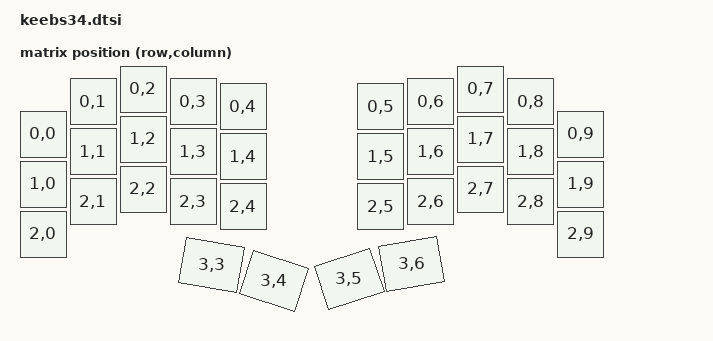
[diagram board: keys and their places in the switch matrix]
#include <dt-bindings/zmk/matrix_transform.h>

/ {
    chosen {
        zmk,physical-layout = &physical_layout0;
    };

    physical_layout0: physical_layout_0 {
        compatible = "zmk,physical-layout";
        display-name = "Default Layout";
        kscan = <&kscan0>;
        transform = <&default_transform>;
        keys  //                     w   h    x    y     rot    rx    ry
            = <&key_physical_attrs 100 100    0   90       0     0     0>
            , <&key_physical_attrs 100 100  100   25       0     0     0>
            , <&key_physical_attrs 100 100  200    0       0     0     0>
            , <&key_physical_attrs 100 100  300   25       0     0     0>
            , <&key_physical_attrs 100 100  400   35       0     0     0>
            , <&key_physical_attrs 100 100  675   35       0     0     0>
            , <&key_physical_attrs 100 100  775   25       0     0     0>
            , <&key_physical_attrs 100 100  875    0       0     0     0>
            , <&key_physical_attrs 100 100  975   25       0     0     0>
            , <&key_physical_attrs 100 100 1075   90       0     0     0>
            , <&key_physical_attrs 100 100    0  190       0     0     0>
            , <&key_physical_attrs 100 100  100  125       0     0     0>
            , <&key_physical_attrs 100 100  200  100       0     0     0>
            , <&key_physical_attrs 100 100  300  125       0     0     0>
            , <&key_physical_attrs 100 100  400  135       0     0     0>
            , <&key_physical_attrs 100 100  675  135       0     0     0>
            , <&key_physical_attrs 100 100  775  125       0     0     0>
            , <&key_physical_attrs 100 100  875  100       0     0     0>
            , <&key_physical_attrs 100 100  975  125       0     0     0>
            , <&key_physical_attrs 100 100 1075  190       0     0     0>
            , <&key_physical_attrs 100 100    0  290       0     0     0>
            , <&key_physical_attrs 100 100  100  225       0     0     0>
            , <&key_physical_attrs 100 100  200  200       0     0     0>
            , <&key_physical_attrs 100 100  300  225       0     0     0>
            , <&key_physical_attrs 100 100  400  235       0     0     0>
            , <&key_physical_attrs 100 100  675  235       0     0     0>
            , <&key_physical_attrs 100 100  775  225       0     0     0>
            , <&key_physical_attrs 100 100  875  200       0     0     0>
            , <&key_physical_attrs 100 100  975  225       0     0     0>
            , <&key_physical_attrs 100 100 1075  290       0     0     0>
            , <&key_physical_attrs 125 100  325  350    1000   375   400>
            , <&key_physical_attrs 125 100  450  380    1800   500   430>
            , <&key_physical_attrs 125 100  600  380  (-1800)  662   430>
            , <&key_physical_attrs 125 100  725  350  (-1000)  787   400>
            ;
    };

    default_transform: keymap_transform_0 {
        compatible = "zmk,matrix-transform";
        columns = <10>;
        rows = <4>;
// | SW1  | SW2  | SW3  | SW4  | SW5  |    | SW5  | SW4  | SW3  | SW2  | SW1  |
// | SW7  | SW8  | SW9  | SW10 | SW11 |    | SW11 | SW10 | SW9  | SW8  | SW7  |
// | SW13 | SW14 | SW15 | SW16 | SW17 |    | SW17 | SW16 | SW15 | SW14 | SW13 |
//                      | SW19 | SW20 |    | SW20 | SW19 |
        map = <
RC(0,0) RC(0,1) RC(0,2) RC(0,3) RC(0,4)    RC(0,5) RC(0,6) RC(0,7) RC(0,8) RC(0,9)
RC(1,0) RC(1,1) RC(1,2) RC(1,3) RC(1,4)    RC(1,5) RC(1,6) RC(1,7) RC(1,8) RC(1,9)
RC(2,0) RC(2,1) RC(2,2) RC(2,3) RC(2,4)    RC(2,5) RC(2,6) RC(2,7) RC(2,8) RC(2,9)
                        RC(3,3) RC(3,4)    RC(3,5) RC(3,6)
        >;
    };

    kscan0: kscan {
        compatible = "zmk,kscan-gpio-matrix";
        wakeup-source;
    };
};
